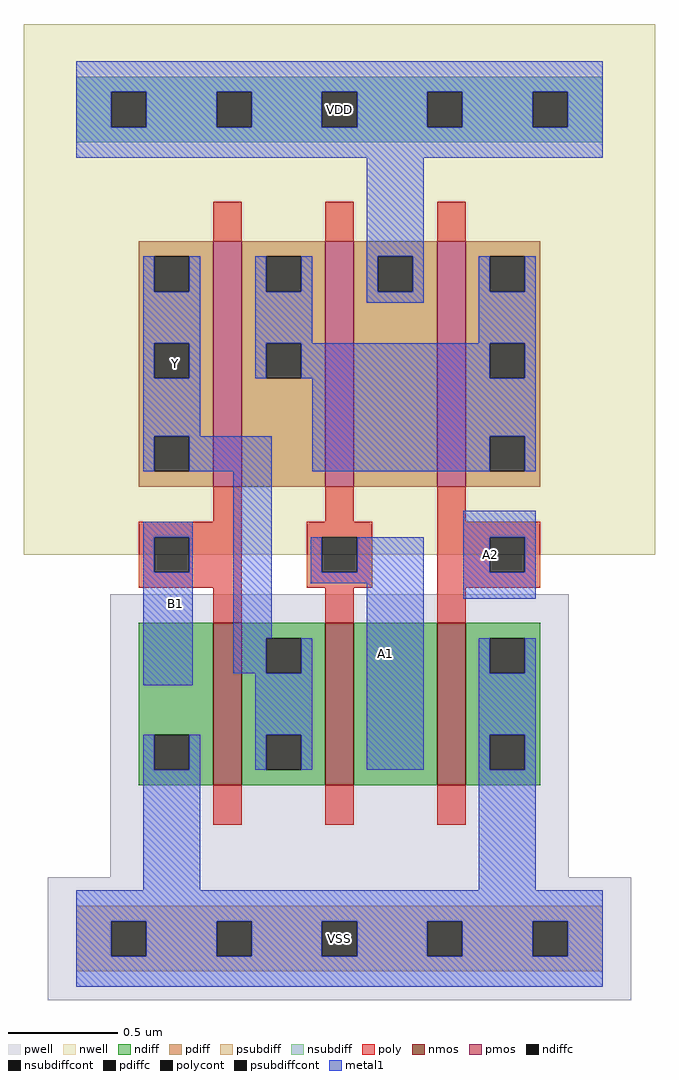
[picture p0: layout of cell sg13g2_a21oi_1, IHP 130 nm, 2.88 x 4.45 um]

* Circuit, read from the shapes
.subckt sg13g2_a21oi_1 VDD VSS A2 A1 B1 Y
XM1 Y B1 VSS VSS sg13_lv_nmos w=0.74u l=0.13u
XM2 n1 A1 Y VSS sg13_lv_nmos w=0.74u l=0.13u
XM3 VSS A2 n1 VSS sg13_lv_nmos w=0.74u l=0.13u
XM4 n2 B1 Y VDD sg13_lv_pmos w=1.12u l=0.13u
XM5 VDD A1 n2 VDD sg13_lv_pmos w=1.12u l=0.13u
XM6 n2 A2 VDD VDD sg13_lv_pmos w=1.12u l=0.13u
.ends

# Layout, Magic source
magic
tech ihp-sg13g2
magscale 1 2
<< nwell >>
rect -48 350 528 834
<< pwell >>
rect 31 56 449 314
rect -26 -56 506 56
<< nmos >>
rect 125 140 151 288
rect 227 140 253 288
rect 329 140 355 288
<< pmos >>
rect 125 412 151 636
rect 227 412 253 636
rect 329 412 355 636
<< ndiff >>
rect 57 186 125 288
rect 57 154 71 186
rect 103 154 125 186
rect 57 140 125 154
rect 151 274 227 288
rect 151 242 173 274
rect 205 242 227 274
rect 151 186 227 242
rect 151 154 173 186
rect 205 154 227 186
rect 151 140 227 154
rect 253 140 329 288
rect 355 274 423 288
rect 355 242 377 274
rect 409 242 423 274
rect 355 186 423 242
rect 355 154 377 186
rect 409 154 423 186
rect 355 140 423 154
<< pdiff >>
rect 57 622 125 636
rect 57 590 71 622
rect 103 590 125 622
rect 57 543 125 590
rect 57 511 71 543
rect 103 511 125 543
rect 57 458 125 511
rect 57 426 71 458
rect 103 426 125 458
rect 57 412 125 426
rect 151 622 227 636
rect 151 590 173 622
rect 205 590 227 622
rect 151 543 227 590
rect 151 511 173 543
rect 205 511 227 543
rect 151 412 227 511
rect 253 622 329 636
rect 253 590 275 622
rect 307 590 329 622
rect 253 412 329 590
rect 355 622 423 636
rect 355 590 377 622
rect 409 590 423 622
rect 355 543 423 590
rect 355 511 377 543
rect 409 511 423 543
rect 355 458 423 511
rect 355 426 377 458
rect 409 426 423 458
rect 355 412 423 426
<< ndiffc >>
rect 71 154 103 186
rect 173 242 205 274
rect 173 154 205 186
rect 377 242 409 274
rect 377 154 409 186
<< pdiffc >>
rect 71 590 103 622
rect 71 511 103 543
rect 71 426 103 458
rect 173 590 205 622
rect 173 511 205 543
rect 275 590 307 622
rect 377 590 409 622
rect 377 511 409 543
rect 377 426 409 458
<< psubdiff >>
rect 0 16 480 30
rect 0 -16 32 16
rect 64 -16 128 16
rect 160 -16 224 16
rect 256 -16 320 16
rect 352 -16 416 16
rect 448 -16 480 16
rect 0 -30 480 -16
<< nsubdiff >>
rect 0 772 480 786
rect 0 740 32 772
rect 64 740 128 772
rect 160 740 224 772
rect 256 740 320 772
rect 352 740 416 772
rect 448 740 480 772
rect 0 726 480 740
<< psubdiffcont >>
rect 32 -16 64 16
rect 128 -16 160 16
rect 224 -16 256 16
rect 320 -16 352 16
rect 416 -16 448 16
<< nsubdiffcont >>
rect 32 740 64 772
rect 128 740 160 772
rect 224 740 256 772
rect 320 740 352 772
rect 416 740 448 772
<< poly >>
rect 125 636 151 672
rect 227 636 253 672
rect 329 636 355 672
rect 125 380 151 412
rect 227 380 253 412
rect 329 380 355 412
rect 57 366 151 380
rect 57 334 71 366
rect 103 334 151 366
rect 57 320 151 334
rect 210 366 270 380
rect 210 334 224 366
rect 256 334 270 366
rect 210 320 270 334
rect 329 366 423 380
rect 329 334 377 366
rect 409 334 423 366
rect 329 320 423 334
rect 125 288 151 320
rect 227 288 253 320
rect 329 288 355 320
rect 125 104 151 140
rect 227 104 253 140
rect 329 104 355 140
<< polycont >>
rect 71 334 103 366
rect 224 334 256 366
rect 377 334 409 366
<< metal1 >>
rect 0 772 480 800
rect 0 740 32 772
rect 64 740 128 772
rect 160 740 224 772
rect 256 740 320 772
rect 352 740 416 772
rect 448 740 480 772
rect 0 712 480 740
rect 265 622 317 712
rect 61 590 71 622
rect 103 590 113 622
rect 61 543 113 590
rect 61 511 71 543
rect 103 511 113 543
rect 163 590 173 622
rect 205 590 215 622
rect 163 543 215 590
rect 265 590 275 622
rect 307 590 317 622
rect 265 580 317 590
rect 367 590 377 622
rect 409 590 419 622
rect 367 543 419 590
rect 163 511 173 543
rect 205 511 377 543
rect 409 511 419 543
rect 61 458 113 511
rect 215 458 419 511
rect 61 426 71 458
rect 103 426 178 458
rect 215 426 377 458
rect 409 426 419 458
rect 61 366 106 380
rect 61 334 71 366
rect 103 334 106 366
rect 61 231 106 334
rect 143 274 178 426
rect 353 366 419 390
rect 214 334 224 366
rect 256 334 317 366
rect 214 324 317 334
rect 143 242 173 274
rect 205 242 215 274
rect 163 186 215 242
rect 61 154 71 186
rect 103 154 113 186
rect 163 154 173 186
rect 205 154 215 186
rect 265 154 317 324
rect 353 334 377 366
rect 409 334 419 366
rect 353 310 419 334
rect 367 242 377 274
rect 409 242 419 274
rect 367 186 419 242
rect 367 154 377 186
rect 409 154 419 186
rect 61 44 113 154
rect 367 44 419 154
rect 0 16 480 44
rect 0 -16 32 16
rect 64 -16 128 16
rect 160 -16 224 16
rect 256 -16 320 16
rect 352 -16 416 16
rect 448 -16 480 16
rect 0 -44 480 -16
<< labels >>
flabel metal1 s 0 712 480 800 0 FreeSans 400 0 0 0 VDD
port 2 nsew
flabel metal1 s 0 -44 480 44 0 FreeSans 400 0 0 0 VSS
port 3 nsew
flabel metal1 s 362 310 394 390 0 FreeSans 400 0 0 0 A2
port 4 nsew
flabel metal1 s 266 154 298 366 0 FreeSans 400 0 0 0 A1
port 5 nsew
flabel metal1 s 74 231 106 380 0 FreeSans 400 0 0 0 B1
port 6 nsew
flabel metal1 s 74 426 106 622 0 FreeSans 400 0 0 0 Y
port 7 nsew
<< properties >>
string FIXED_BBOX 0 0 480 756
string GDS_END 61150
string GDS_FILE ../gds/controller.gds
string GDS_START 57130
<< end >>
